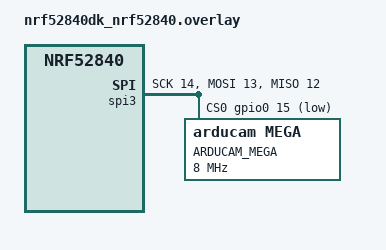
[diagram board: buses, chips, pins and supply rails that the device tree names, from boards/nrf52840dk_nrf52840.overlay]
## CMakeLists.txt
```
cmake_minimum_required(VERSION 3.20.0)
find_package(Zephyr REQUIRED HINTS $ENV{ZEPHYR_BASE})
project(arducam_mega_capture)

target_sources(app PRIVATE src/main.c)

target_include_directories(app PRIVATE
  ${CMAKE_CURRENT_SOURCE_DIR}/../../include
)
```

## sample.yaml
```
sample:
  name: Arducam MEGA Capture Sample
  description: >
    Demonstrates single-shot JPEG capture with the Arducam MEGA SPI camera
    module using Zephyr's video subsystem API.

tests:
  sample.drivers.video.arducam_mega.capture:
    tags:
      - video
      - arducam
      - drivers
    build_only: true
    platform_allow:
      - nucleo_f401re
      - rpi_pico
      - nrf52840dk/nrf52840
      - esp32_devkitc_wroom/esp32/procpu
```

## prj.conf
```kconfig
# Sample: Arducam MEGA capture to UART
CONFIG_VIDEO=y
CONFIG_VIDEO_ARDUCAM_MEGA=y
CONFIG_SPI=y

# Heap for video_buffer_alloc
CONFIG_HEAP_MEM_POOL_SIZE=131072

# UART for streaming the image data out
CONFIG_UART_CONSOLE=y
CONFIG_SERIAL=y

# Logging
CONFIG_LOG=y
CONFIG_VIDEO_LOG_LEVEL_INF=y

CONFIG_MAIN_STACK_SIZE=8192
```

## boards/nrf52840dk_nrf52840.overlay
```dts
/* nRF52840 DK – copy of tests/e2e/boards overlay */
&spi3 {
	compatible = "nordic,nrf-spim";
	status = "okay";
	cs-gpios = <&gpio0 15 GPIO_ACTIVE_LOW>;
	mosi-pin = <13>;
	miso-pin = <12>;
	sck-pin  = <14>;

	arducam_mega_cam: camera@0 {
		compatible = "arducam,mega";
		reg = <0>;
		spi-max-frequency = <8000000>;
		label = "ARDUCAM_MEGA";
	};
};
```

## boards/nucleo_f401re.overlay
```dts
/* STM32 NUCLEO-F401RE – copy of tests/e2e/boards overlay */
&spi1 {
	status = "okay";
	cs-gpios = <&gpioa 4 GPIO_ACTIVE_LOW>;

	arducam_mega_cam: camera@0 {
		compatible = "arducam,mega";
		reg = <0>;
		spi-max-frequency = <8000000>;
		label = "ARDUCAM_MEGA";
	};
};
```

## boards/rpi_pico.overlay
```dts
/* Raspberry Pi Pico – copy of tests/e2e/boards overlay */
&spi0 {
	status = "okay";
	cs-gpios = <&gpio0 17 GPIO_ACTIVE_LOW>;

	arducam_mega_cam: camera@0 {
		compatible = "arducam,mega";
		reg = <0>;
		spi-max-frequency = <8000000>;
		label = "ARDUCAM_MEGA";
	};
};
```

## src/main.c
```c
/*
 * Copyright (c) 2024 Arducam MEGA Zephyr Driver Contributors
 * SPDX-License-Identifier: Apache-2.0
 *
 * Sample: Arducam MEGA – single-shot JPEG capture streamed over UART.
 *
 * The sample captures one JPEG frame and writes it to the UART console
 * as a hex dump.  This can be redirected to a file on a host PC and
 * decoded with any JPEG viewer:
 *
 *   west flash && minicom -D /dev/ttyUSB0 -b 115200 | \
 *       python3 -c "import sys,binascii; \
 *           open('out.jpg','wb').write(binascii.unhexlify(sys.stdin.read()))"
 *
 * Alternatively, set CONFIG_ARDUCAM_SAMPLE_RAW_OUTPUT=y to write raw
 * bytes directly to the UART (useful when the console can handle binary).
 *
 * Board overlay:
 *   Copy or symlink one of the overlays from tests/e2e/boards/ into
 *   samples/capture/boards/ and rename it to match your board.
 */

#include <zephyr/kernel.h>
#include <zephyr/drivers/video.h>
#include <zephyr/logging/log.h>
#include <stdio.h>

LOG_MODULE_REGISTER(arducam_sample, LOG_LEVEL_INF);

/* Obtain the camera device at build time from the DTS label */
#define CAM_NODE DT_NODELABEL(arducam_mega_cam)

/* Maximum buffer size – enough for a JPEG at SVGA quality */
#define BUF_SIZE (800 * 600)

int main(void)
{
	const struct device *cam = DEVICE_DT_GET(CAM_NODE);

	if (!device_is_ready(cam)) {
		LOG_ERR("Arducam MEGA device not ready");
		return -ENODEV;
	}

	LOG_INF("Arducam MEGA sample started");

	/* ---------------------------------------------------------------- *
	 * 1. Configure: JPEG, QVGA (320x240)
	 * ---------------------------------------------------------------- */
	struct video_format fmt = {
		.pixelformat = VIDEO_PIX_FMT_JPEG,
		.width       = 320,
		.height      = 240,
	};

	int ret = video_set_format(cam, VIDEO_EP_OUT, &fmt);

	if (ret < 0) {
		LOG_ERR("video_set_format failed: %d", ret);
		return ret;
	}
	LOG_INF("Format: %ux%u JPEG", fmt.width, fmt.height);

	/* ---------------------------------------------------------------- *
	 * 2. Allocate a buffer
	 * ---------------------------------------------------------------- */
	struct video_buffer *vbuf = video_buffer_alloc(BUF_SIZE);

	if (!vbuf) {
		LOG_ERR("Failed to allocate video buffer (%u bytes)", BUF_SIZE);
		return -ENOMEM;
	}

	/* ---------------------------------------------------------------- *
	 * 3. Enqueue the buffer, start stream, wait for a frame
	 * ---------------------------------------------------------------- */
	ret = video_enqueue(cam, VIDEO_EP_OUT, vbuf);
	if (ret < 0) {
		LOG_ERR("video_enqueue failed: %d", ret);
		goto out;
	}

	ret = video_stream_start(cam);
	if (ret < 0) {
		LOG_ERR("video_stream_start failed: %d", ret);
		goto out;
	}

	struct video_buffer *filled;

	ret = video_dequeue(cam, VIDEO_EP_OUT, &filled, K_SECONDS(10));
	if (ret < 0) {
		LOG_ERR("video_dequeue failed: %d", ret);
		video_stream_stop(cam);
		goto out;
	}

	video_stream_stop(cam);

	/* ---------------------------------------------------------------- *
	 * 4. Print the captured frame
	 * ---------------------------------------------------------------- */
	LOG_INF("Captured %u bytes (timestamp=%u ms)",
		filled->bytesused, filled->timestamp);

	/* Emit the JPEG as hex so the console can carry it */
	const uint8_t *p   = (const uint8_t *)filled->buffer;
	const uint8_t *end = p + filled->bytesused;

	printk("JPEG_BEGIN\n");
	while (p < end) {
		/* Print up to 32 bytes per line */
		int chunk = MIN(end - p, 32);

		for (int i = 0; i < chunk; i++) {
			printk("%02x", p[i]);
		}
		printk("\n");
		p += chunk;
	}
	printk("JPEG_END\n");

out:
	video_buffer_release(vbuf);
	return ret;
}
```
